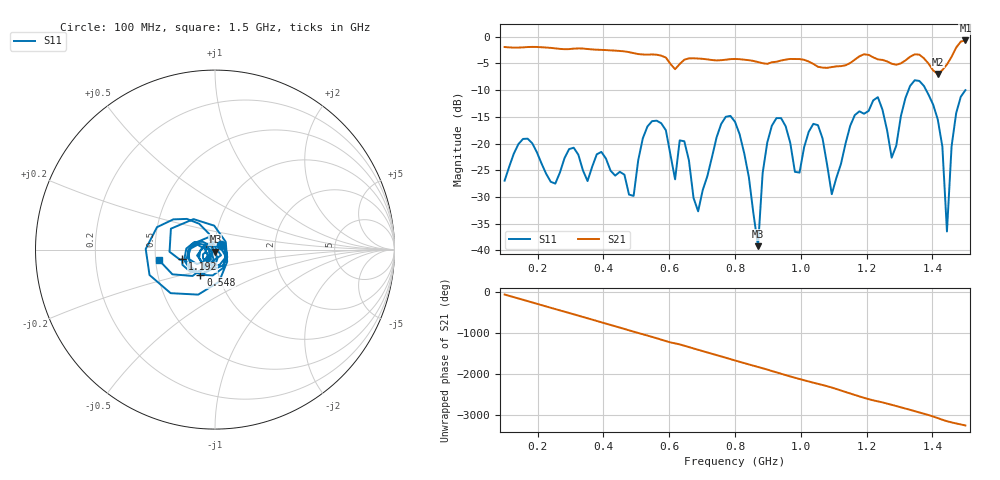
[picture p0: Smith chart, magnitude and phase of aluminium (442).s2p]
! NanoVNA-App
! Date: 2025-09-25 14:58:43
! Start: 100MHz Stop: 1,5GHz Points: 101
! S-Parameter data: F S11 S21 S12 S22
# Hz S RI R 50
!  Frequency  S11_Real  S11_Imag  S21_Real  S21_Imag  S12_Real  S12_Imag  S22_Real  S22_Imag
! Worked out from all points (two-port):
!   101 points, 100 MHz to 1.5 GHz, reference 50 ohm
!   highest |S21| = -0.69 dB at 1.5 GHz (marker M1); lowest = -7.0 dB at 1.416 GHz (marker M2)
!   |S21| within 3 dB of the highest: start of sweep to 581.8 MHz; 1.177 GHz to 1.215 GHz (37.82 MHz wide, 3.16 % of centre) (the widest 2 of 4)
!   lowest |S11| = -39.2 dB at 870 MHz (marker M3), VSWR 1.02, Z = 50.2 - j1.07 ohm
!   |S11| at or under -10 dB: start of sweep to 1.327 GHz; 1.381 GHz to end of sweep
!   S12 and S22 are empty: the file has one direction only
!   S11 on the Smith chart (normalised r, x): 100 MHz: 1.07, +0.06; 548 MHz: 0.82, -0.24; 1.192 GHz: 0.69, -0.08; 1.5 GHz: 0.52, -0.07
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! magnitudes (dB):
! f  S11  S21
! 100 MHz  -27.0  -1.9
! 156 MHz  -19.1  -2.0
! 338 MHz  -25.0  -2.2
! 492 MHz  -29.8  -3.1
! 548 MHz  -15.8  -3.3
! 576 MHz  -16.2  -3.5
! 646 MHz  -19.6  -4.3
! 688 MHz  -32.7  -4.1
! 800 MHz  -15.9  -4.2
! 870 MHz  -39.2  -4.7
! 912 MHz  -16.7  -4.8
! 996 MHz  -25.4  -4.2
! 1.038 GHz  -16.3  -5.1
! 1.094 GHz  -29.5  -5.7
! 1.192 GHz  -14.4  -3.3
! 1.234 GHz  -11.3  -4.2
! 1.276 GHz  -22.7  -5.0
! 1.346 GHz  -8.1  -3.3
! 1.416 GHz  -15.5  -7.0
! 1.444 GHz  -36.5  -5.2
! 1.458 GHz  -20.5  -3.8
! 1.5 GHz  -10.0  -0.7
